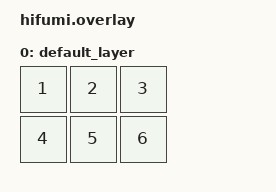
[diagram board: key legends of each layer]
/ {
    chosen {
        zmk,kscan = &kscan0;
    };

    kscan0: kscan_0 {
        compatible = "zmk,kscan-gpio-matrix";
        diode-direction = "col2row";
        wakeup-source;

        col-gpios
            = <&pro_micro 29 GPIO_ACTIVE_HIGH>
            , <&pro_micro 28 GPIO_ACTIVE_HIGH>
            , <&pro_micro 27 GPIO_ACTIVE_HIGH>
            ;

        row-gpios
            = <&pro_micro 4 (GPIO_ACTIVE_HIGH | GPIO_PULL_DOWN)>
            , <&pro_micro 5 (GPIO_ACTIVE_HIGH | GPIO_PULL_DOWN)>
            ;
    };

    default_transform: keymap_transform_0 {
        compatible = "zmk,matrix-transform";
        columns = <3>;
        rows = <2>;
// | MX1 | MX2 | MX3| 
// | MX4 | MX5 | MX6 |
        map = <
RC(0,0) RC(0,1) RC(0,2)
RC(1,0) RC(1,0) RC(1,0)
        >;
    };

    keymap {
        compatible = "zmk,keymap";

        default_layer {
// -----------------------------
// |   1   |    2    |    3    | 
// -----------------------------
// |   4   |    5    |    6    | 
// -----------------------------
            bindings = <
    &kp N1    &kp N2    &kp N3
    &kp N4    &kp N5    &kp N6
            >;
        };
    };
};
